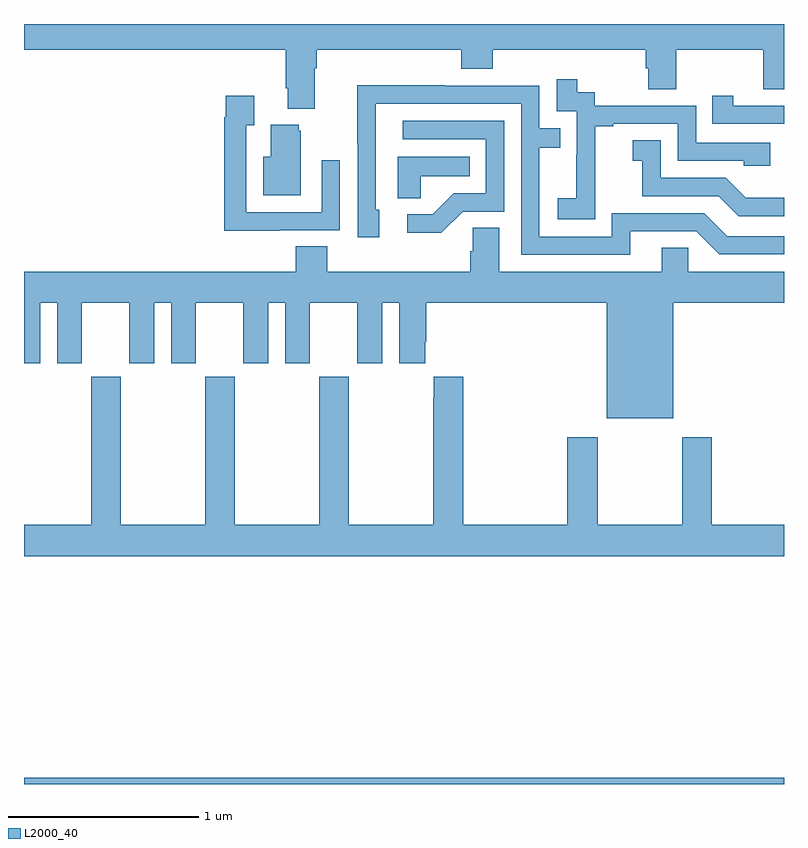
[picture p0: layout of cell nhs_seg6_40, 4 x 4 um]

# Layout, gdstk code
import gdstk
lib = gdstk.Library(unit=1e-6, precision=1e-09)
def R(c, l, rs):  # rectangles x0, y0, x1, y1
    for r in rs: c.add(gdstk.rectangle(r[:2], r[2:], *l))
def P(c, l, *ps):  # polygons
    for p in ps: c.add(gdstk.Polygon(p, *l))
L2000_40 = (2000, 40)

nhs_seg6_40 = lib.new_cell('nhs_seg6_40')
R(nhs_seg6_40, L2000_40, [(113,915.5,117,915.532)])
P(nhs_seg6_40, L2000_40, [(114.529,919.268),(114.542,919.268),(114.542,919.364),(115.301,919.364),(115.301,919.265),(115.466,919.265),(115.466,919.364),(116.273,919.364),(116.273,919.266),(116.285,919.266),(116.285,919.156),(116.433,919.156),(116.433,919.364),(116.89,919.364),(116.89,919.156),(117,919.156),(117,919.5),(113,919.5),(113,919.364),(114.377,919.364),(114.377,919.162),(114.389,919.162),(114.389,919.055),(114.529,919.055)],
  [(116.007,918.679),(116.006,918.679),(116.006,918.963),(116.101,918.963),(116.101,918.975),(116.442,918.975),(116.442,918.78),(116.787,918.78),(116.787,918.753),(116.927,918.753),(116.927,918.876),(116.538,918.876),(116.538,919.071),(116.004,919.071),(116.004,919.14),(115.912,919.14),(115.912,919.21),(115.803,919.21),(115.803,919.041),(115.908,919.041),(115.908,918.812),(115.907,918.812),(115.907,918.583),(115.809,918.583),(115.809,918.473),(116.007,918.473)],
  [(116.191,918.408),(116.538,918.408),(116.658,918.288),(117,918.288),(117,918.384),(116.7,918.384),(116.58,918.504),(116.094,918.504),(116.094,918.381),(115.713,918.381),(115.713,918.85),(115.823,918.85),(115.823,918.951),(115.713,918.951),(115.713,919.176),(115.217,919.176),(115.217,919.178),(114.754,919.178),(114.754,918.871),(114.756,918.871),(114.756,918.378),(114.871,918.378),(114.871,918.522),(114.852,918.522),(114.852,919.08),(115.617,919.08),(115.617,918.285),(116.191,918.285)],
  [(117,919.071),(116.734,919.071),(116.734,919.123),(116.623,919.123),(116.623,918.975),(117,918.975)],
  [(114.347,918.414),(114.663,918.414),(114.663,918.784),(114.567,918.784),(114.567,918.51),(114.171,918.51),(114.171,918.967),(114.211,918.967),(114.211,919.123),(114.063,919.123),(114.063,919.01),(114.055,919.01),(114.055,918.413),(114.347,918.413)],
  [(115.308,918.513),(115.527,918.513),(115.527,918.99),(114.993,918.99),(114.993,918.894),(115.431,918.894),(115.431,918.609),(115.262,918.609),(115.151,918.498),(115.017,918.498),(115.017,918.401),(115.195,918.401)],
  [(114.457,918.939),(114.446,918.939),(114.446,918.97),(114.299,918.97),(114.299,918.802),(114.26,918.802),(114.26,918.599),(114.457,918.599)],
  [(117,918.586),(116.798,918.586),(116.694,918.69),(116.352,918.69),(116.352,918.889),(116.205,918.889),(116.205,918.779),(116.254,918.779),(116.254,918.594),(116.657,918.594),(116.762,918.489),(117,918.489)],
  [(115.089,918.698),(115.346,918.698),(115.346,918.802),(114.968,918.802),(114.968,918.583),(115.089,918.583)],
  [(116.416,918.032),(117,918.032),(117,918.196),(116.496,918.196),(116.496,918.323),(116.357,918.323),(116.357,918.196),(115.501,918.196),(115.501,918.428),(115.362,918.428),(115.362,918.305),(115.349,918.305),(115.349,918.196),(114.596,918.196),(114.596,918.329),(114.431,918.329),(114.431,918.196),(113,918.196),(113,917.715),(113.086,917.715),(113.086,918.032),(113.174,918.032),(113.174,917.715),(113.305,917.715),(113.305,918.032),(113.555,918.032),(113.555,917.715),(113.686,917.715),(113.686,918.032),(113.774,918.032),(113.774,917.715),(113.905,917.715),(113.905,918.032),(114.155,918.032),(114.155,917.715),(114.286,917.715),(114.286,918.032),(114.374,918.032),(114.374,917.715),(114.505,917.715),(114.505,918.032),(114.755,918.032),(114.755,917.715),(114.886,917.715),(114.886,918.032),(114.974,918.032),(114.974,917.715),(115.111,917.715),(115.111,917.827),(115.118,917.827),(115.118,918.032),(116.066,918.032),(116.066,917.426),(116.416,917.426)],
  [(117,916.864),(116.619,916.864),(116.619,917.326),(116.464,917.326),(116.464,916.864),(116.019,916.864),(116.019,917.326),(115.859,917.326),(115.859,916.864),(115.313,916.864),(115.313,917.644),(115.157,917.644),(115.157,917.531),(115.153,917.531),(115.153,916.864),(114.708,916.864),(114.708,917.644),(114.553,917.644),(114.553,916.864),(114.108,916.864),(114.108,917.644),(113.953,917.644),(113.953,916.864),(113.508,916.864),(113.508,917.644),(113.353,917.644),(113.353,916.864),(113,916.864),(113,916.7),(117,916.7)])

lib.write_gds('nhs_seg6_40.gds')
